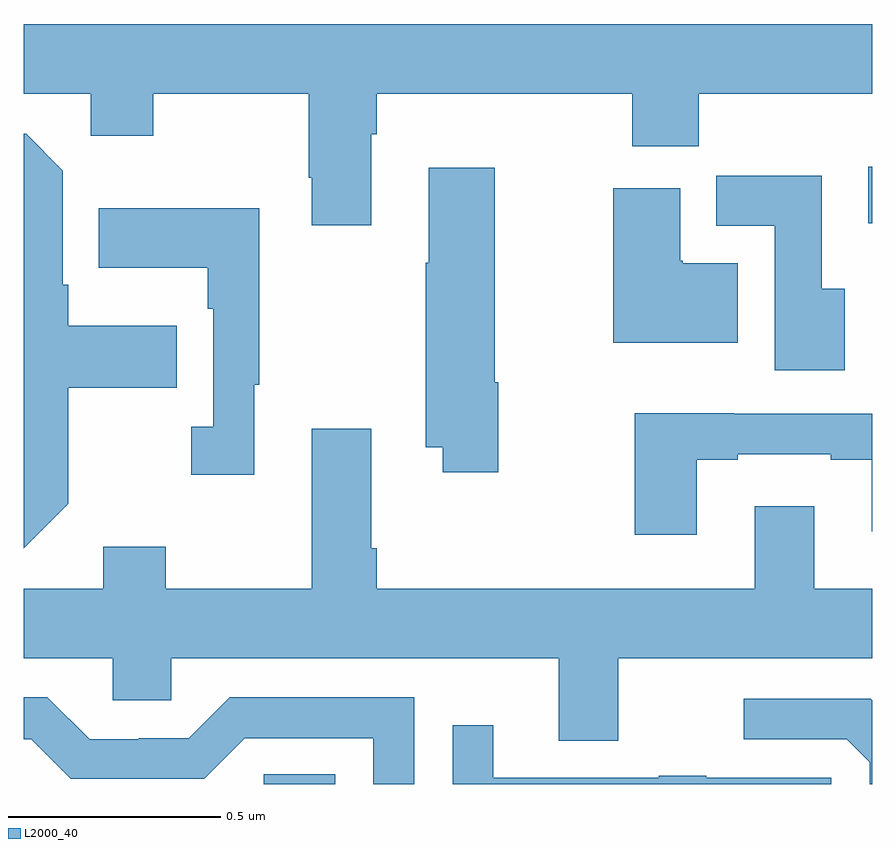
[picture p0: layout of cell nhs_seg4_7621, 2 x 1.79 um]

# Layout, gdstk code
import gdstk
lib = gdstk.Library(unit=1e-6, precision=1e-09)
def R(c, l, rs):  # rectangles x0, y0, x1, y1
    for r in rs: c.add(gdstk.rectangle(r[:2], r[2:], *l))
def P(c, l, *ps):  # polygons
    for p in ps: c.add(gdstk.Polygon(p, *l))
L2000_40 = (2000, 40)

nhs_seg4_7621 = lib.new_cell('nhs_seg4_7621')
R(nhs_seg4_7621, L2000_40, [(205.566,753.9,205.734,753.923), (206.991,755.222,207,755.356)])
P(nhs_seg4_7621, L2000_40, [(205.819,755.432),(205.832,755.432),(205.832,755.528),(206.435,755.528),(206.435,755.404),(206.591,755.404),(206.591,755.528),(207,755.528),(207,755.692),(205,755.692),(205,755.528),(205.158,755.528),(205.158,755.429),(205.305,755.429),(205.305,755.528),(205.672,755.528),(205.672,755.329),(205.679,755.329),(205.679,755.217),(205.819,755.217)],
  [(205.105,754.561),(205.105,754.834),(205.361,754.834),(205.361,754.981),(205.105,754.981),(205.105,755.077),(205.092,755.077),(205.092,755.346),(205.005,755.433),(205,755.433),(205,754.456)],
  [(206.118,754.847),(206.11,754.847),(206.11,755.353),(205.955,755.353),(205.955,755.129),(205.948,755.129),(205.948,754.694),(205.988,754.694),(205.988,754.635),(206.118,754.635)],
  [(206.935,755.068),(206.881,755.068),(206.881,755.334),(206.633,755.334),(206.633,755.216),(206.771,755.216),(206.771,754.875),(206.935,754.875)],
  [(206.683,755.128),(206.554,755.128),(206.554,755.134),(206.548,755.134),(206.548,755.305),(206.39,755.305),(206.39,754.94),(206.683,754.94)],
  [(205.543,754.841),(205.555,754.841),(205.555,755.257),(205.177,755.257),(205.177,755.117),(205.434,755.117),(205.434,755.021),(205.446,755.021),(205.446,754.742),(205.395,754.742),(205.395,754.629),(205.543,754.629)],
  [(206.587,754.665),(206.683,754.665),(206.683,754.677),(206.903,754.677),(206.903,754.665),(206.999,754.665),(206.999,754.496),(207,754.496),(207,754.773),(206.675,754.773),(206.675,754.774),(206.44,754.774),(206.44,754.488),(206.587,754.488)],
  [(206.401,754.196),(207,754.196),(207,754.36),(206.863,754.36),(206.863,754.555),(206.723,754.555),(206.723,754.36),(205.832,754.36),(205.832,754.456),(205.819,754.456),(205.819,754.738),(205.679,754.738),(205.679,754.36),(205.335,754.36),(205.335,754.459),(205.187,754.459),(205.187,754.36),(205,754.36),(205,754.196),(205.209,754.196),(205.209,754.098),(205.347,754.098),(205.347,754.196),(206.261,754.196),(206.261,754.002),(206.401,754.002)],
  [(205.92,754.104),(205.485,754.104),(205.389,754.008),(205.271,754.008),(205.271,754.005),(205.155,754.005),(205.055,754.105),(205,754.105),(205,754.005),(205.017,754.005),(205.11,753.912),(205.425,753.912),(205.521,754.008),(205.824,754.008),(205.824,753.9),(205.92,753.9)],
  [(207,754.098),(206.997,754.101),(206.697,754.101),(206.697,754.005),(206.94,754.005),(206.994,753.951),(206.994,753.9),(207,753.9)],
  [(206.904,753.915),(206.609,753.915),(206.609,753.92),(206.497,753.92),(206.497,753.915),(206.107,753.915),(206.107,754.039),(206.011,754.039),(206.011,753.9),(206.904,753.9)])

lib.write_gds('nhs_seg4_7621.gds')
